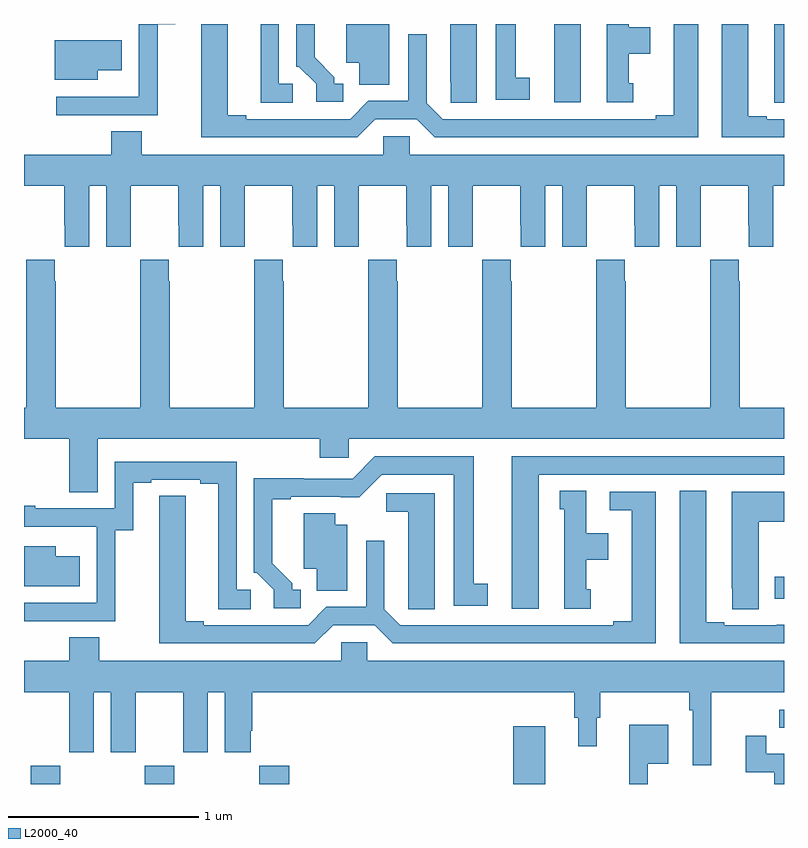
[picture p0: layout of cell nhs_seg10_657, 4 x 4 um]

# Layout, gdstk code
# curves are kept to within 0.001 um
import gdstk
lib = gdstk.Library(unit=1e-6, precision=1e-09)
def R(c, l, rs):  # rectangles x0, y0, x1, y1
    for r in rs: c.add(gdstk.rectangle(r[:2], r[2:], *l))
def P(c, l, *ps):  # polygons
    for p in ps: c.add(gdstk.Polygon(p, *l))
L2000_40 = (2000, 40)

nhs_seg10_657 = lib.new_cell('nhs_seg10_657')
R(nhs_seg10_657, L2000_40, [(143.035,1298.5,143.19,1298.596), (143.635,1298.5,143.79,1298.596), (144.239,1298.5,144.395,1298.596), (145.574,1298.5,145.744,1298.803), (146.976,1298.796,147,1298.892), (146.951,1299.474,147,1299.591), (145.79,1302.087,145.93,1302.5)])
P(nhs_seg10_657, L2000_40, [(147,1302.5),(146.948,1302.5),(146.948,1302.193),(146.949,1302.193),(146.949,1302.085),(147,1302.085)],
  [(144.849,1302),(145.067,1302),(145.163,1301.904),(146.548,1301.904),(146.548,1302.5),(146.42,1302.5),(146.42,1302.02),(146.324,1302.02),(146.324,1302),(145.203,1302),(145.119,1302.084),(145.119,1302.445),(145.023,1302.445),(145.023,1302.096),(144.813,1302.096),(144.717,1302),(144.169,1302),(144.169,1302.02),(144.073,1302.02),(144.073,1302.5),(143.933,1302.5),(143.933,1301.904),(144.753,1301.904)],
  [(144.415,1302.186),(144.342,1302.186),(144.342,1302.5),(144.245,1302.5),(144.245,1302.085),(144.415,1302.085)],
  [(143.703,1302.499),(143.797,1302.499),(143.797,1302.5),(143.604,1302.5),(143.604,1302.118),(143.603,1302.118),(143.603,1302.117),(143.169,1302.117),(143.169,1302.021),(143.703,1302.021)],
  [(147,1302),(146.908,1302),(146.908,1302.015),(146.812,1302.015),(146.812,1302.5),(146.672,1302.5),(146.672,1301.904),(147,1301.904)],
  [(146.206,1302.189),(146.182,1302.189),(146.182,1302.344),(146.296,1302.344),(146.296,1302.484),(146.182,1302.484),(146.182,1302.5),(146.066,1302.5),(146.066,1302.087),(146.206,1302.087)],
  [(144.922,1302.5),(144.695,1302.5),(144.695,1302.296),(144.764,1302.296),(144.764,1302.181),(144.922,1302.181)],
  [(144.679,1302.186),(144.634,1302.186),(144.634,1302.221),(144.529,1302.326),(144.529,1302.5),(144.432,1302.5),(144.432,1302.276),(144.447,1302.276),(144.537,1302.186),(144.537,1302.09),(144.679,1302.09)],
  [(145.663,1302.218),(145.588,1302.218),(145.588,1302.5),(145.484,1302.5),(145.484,1302.102),(145.663,1302.102)],
  [(145.384,1302.5),(145.244,1302.5),(145.244,1302.193),(145.245,1302.193),(145.245,1302.085),(145.384,1302.085)],
  [(143.389,1302.257),(143.515,1302.257),(143.515,1302.415),(143.162,1302.415),(143.162,1302.206),(143.389,1302.206)],
  [(143.619,1301.936),(143.459,1301.936),(143.459,1301.812),(143,1301.812),(143,1301.648),(143.213,1301.648),(143.213,1301.44),(143.214,1301.44),(143.214,1301.328),(143.344,1301.328),(143.344,1301.648),(143.432,1301.648),(143.432,1301.328),(143.562,1301.328),(143.562,1301.44),(143.563,1301.44),(143.563,1301.648),(143.813,1301.648),(143.813,1301.44),(143.814,1301.44),(143.814,1301.328),(143.944,1301.328),(143.944,1301.648),(144.032,1301.648),(144.032,1301.328),(144.162,1301.328),(144.162,1301.44),(144.163,1301.44),(144.163,1301.648),(144.413,1301.648),(144.413,1301.44),(144.414,1301.44),(144.414,1301.328),(144.544,1301.328),(144.544,1301.648),(144.632,1301.648),(144.632,1301.328),(144.762,1301.328),(144.762,1301.44),(144.763,1301.44),(144.763,1301.648),(145.013,1301.648),(145.013,1301.44),(145.014,1301.44),(145.014,1301.328),(145.144,1301.328),(145.144,1301.648),(145.232,1301.648),(145.232,1301.328),(145.362,1301.328),(145.362,1301.44),(145.363,1301.44),(145.363,1301.648),(145.613,1301.648),(145.613,1301.44),(145.614,1301.44),(145.614,1301.328),(145.744,1301.328),(145.744,1301.648),(145.832,1301.648),(145.832,1301.328),(145.962,1301.328),(145.962,1301.44),(145.963,1301.44),(145.963,1301.648),(146.213,1301.648),(146.213,1301.44),(146.214,1301.44),(146.214,1301.328),(146.344,1301.328),(146.344,1301.648),(146.432,1301.648),(146.432,1301.328),(146.562,1301.328),(146.562,1301.44),(146.563,1301.44),(146.563,1301.648),(146.813,1301.648),(146.813,1301.44),(146.814,1301.44),(146.814,1301.328),(146.944,1301.328),(146.944,1301.648),(147,1301.648),(147,1301.812),(145.029,1301.812),(145.029,1301.91),(144.891,1301.91),(144.891,1301.812),(143.619,1301.812)],
  [(143.389,1300.316),(144.557,1300.316),(144.557,1300.218),(144.708,1300.218),(144.708,1300.316),(147,1300.316),(147,1300.48),(146.766,1300.48),(146.766,1301.147),(146.763,1301.147),(146.763,1301.26),(146.613,1301.26),(146.613,1301.147),(146.611,1301.147),(146.611,1300.48),(146.166,1300.48),(146.166,1301.147),(146.163,1301.147),(146.163,1301.26),(146.013,1301.26),(146.013,1301.147),(146.011,1301.147),(146.011,1300.48),(145.566,1300.48),(145.566,1301.147),(145.563,1301.147),(145.563,1301.26),(145.413,1301.26),(145.413,1301.147),(145.411,1301.147),(145.411,1300.48),(144.966,1300.48),(144.966,1301.147),(144.963,1301.147),(144.963,1301.26),(144.813,1301.26),(144.813,1301.147),(144.811,1301.147),(144.811,1300.48),(144.366,1300.48),(144.366,1301.147),(144.363,1301.147),(144.363,1301.26),(144.213,1301.26),(144.213,1301.147),(144.211,1301.147),(144.211,1300.48),(143.766,1300.48),(143.766,1301.147),(143.763,1301.147),(143.763,1301.26),(143.613,1301.26),(143.613,1301.147),(143.611,1301.147),(143.611,1300.48),(143.166,1300.48),(143.166,1301.147),(143.163,1301.147),(143.163,1301.26),(143.013,1301.26),(143.013,1301.147),(143.011,1301.147),(143.011,1300.48),(143,1300.48),(143,1300.316),(143.237,1300.316),(143.237,1300.036),(143.389,1300.036)],
  [(145.708,1300.128),(147,1300.128),(147,1300.224),(145.568,1300.224),(145.568,1299.423),(145.708,1299.423)],
  [(144.457,1299.522),(144.412,1299.522),(144.412,1299.557),(144.307,1299.662),(144.307,1299.999),(144.403,1299.999),(144.403,1300.011),(144.764,1300.01),(144.882,1300.128),(145.262,1300.128),(145.262,1299.438),(145.441,1299.438),(145.441,1299.554),(145.366,1299.554),(145.366,1300.224),(144.846,1300.224),(144.729,1300.107),(144.473,1300.107),(144.473,1300.109),(144.21,1300.109),(144.21,1299.612),(144.225,1299.612),(144.315,1299.522),(144.315,1299.426),(144.457,1299.426)],
  [(143.481,1299.835),(143.575,1299.835),(143.575,1300.086),(143.671,1300.086),(143.671,1300.101),(143.927,1300.101),(143.927,1300.081),(144.023,1300.081),(144.023,1299.421),(144.193,1299.421),(144.193,1299.522),(144.12,1299.522),(144.12,1300.197),(143.478,1300.197),(143.478,1299.951),(143.059,1299.951),(143.059,1299.964),(143,1299.964),(143,1299.855),(143.381,1299.855),(143.381,1299.854),(143.382,1299.854),(143.382,1299.453),(143,1299.453),(143,1299.357),(143.481,1299.357)],
  [(147,1299.337),(146.962,1299.337),(146.962,1299.336),(146.686,1299.336),(146.686,1299.351),(146.59,1299.351),(146.59,1300.043),(146.45,1300.043),(146.45,1299.24),(147,1299.24)],
  [(145.984,1299.525),(145.96,1299.525),(145.96,1299.68),(146.074,1299.68),(146.074,1299.82),(145.96,1299.82),(145.96,1300.043),(145.82,1300.043),(145.82,1299.945),(145.844,1299.945),(145.844,1299.423),(145.984,1299.423)],
  [(146.866,1299.88),(147,1299.88),(147,1300.039),(146.726,1300.039),(146.726,1299.529),(146.727,1299.529),(146.727,1299.421),(146.866,1299.421)],
  [(144.627,1299.336),(144.845,1299.336),(144.941,1299.24),(146.326,1299.24),(146.326,1300.038),(146.082,1300.038),(146.082,1299.942),(146.198,1299.942),(146.198,1299.356),(146.102,1299.356),(146.102,1299.336),(144.981,1299.336),(144.897,1299.42),(144.897,1299.781),(144.801,1299.781),(144.801,1299.432),(144.591,1299.432),(144.495,1299.336),(143.947,1299.336),(143.947,1299.356),(143.851,1299.356),(143.851,1300.016),(143.712,1300.016),(143.711,1299.24),(144.531,1299.24)],
  [(145.162,1300.029),(144.906,1300.029),(144.906,1299.932),(145.022,1299.932),(145.022,1299.529),(145.023,1299.529),(145.023,1299.421),(145.162,1299.421)],
  [(144.7,1299.865),(144.637,1299.865),(144.637,1299.926),(144.473,1299.926),(144.473,1299.632),(144.542,1299.632),(144.542,1299.517),(144.7,1299.517)],
  [(143.293,1299.7),(143.167,1299.7),(143.167,1299.751),(143,1299.751),(143,1299.542),(143.293,1299.542)],
  [(143.397,1299.272),(143.237,1299.272),(143.237,1299.148),(143,1299.148),(143,1298.984),(143.237,1298.984),(143.237,1298.667),(143.368,1298.667),(143.368,1298.984),(143.456,1298.984),(143.456,1298.667),(143.587,1298.667),(143.587,1298.984),(143.837,1298.984),(143.837,1298.667),(143.968,1298.667),(143.968,1298.984),(144.056,1298.984),(144.056,1298.667),(144.193,1298.667),(144.193,1298.779),(144.2,1298.779),(144.2,1298.984),(145.897,1298.984),(145.897,1298.85),(145.916,1298.85),(145.916,1298.7),(146.014,1298.7),(146.014,1298.85),(146.033,1298.85),(146.033,1298.984),(146.5,1298.984),(146.5,1298.888),(146.52,1298.888),(146.52,1298.598),(146.618,1298.598),(146.618,1298.984),(147,1298.984),(147,1299.148),(144.807,1299.148),(144.807,1299.246),(144.669,1299.246),(144.669,1299.148),(143.397,1299.148)],
  [(146.283,1298.606),(146.392,1298.606),(146.392,1298.812),(146.186,1298.812),(146.186,1298.5),(146.283,1298.5)],
  [(147,1298.658),(146.906,1298.658),(146.906,1298.755),(146.798,1298.755),(146.798,1298.562),(146.948,1298.562),(146.948,1298.5),(147,1298.5)])

lib.write_gds('nhs_seg10_657.gds')
